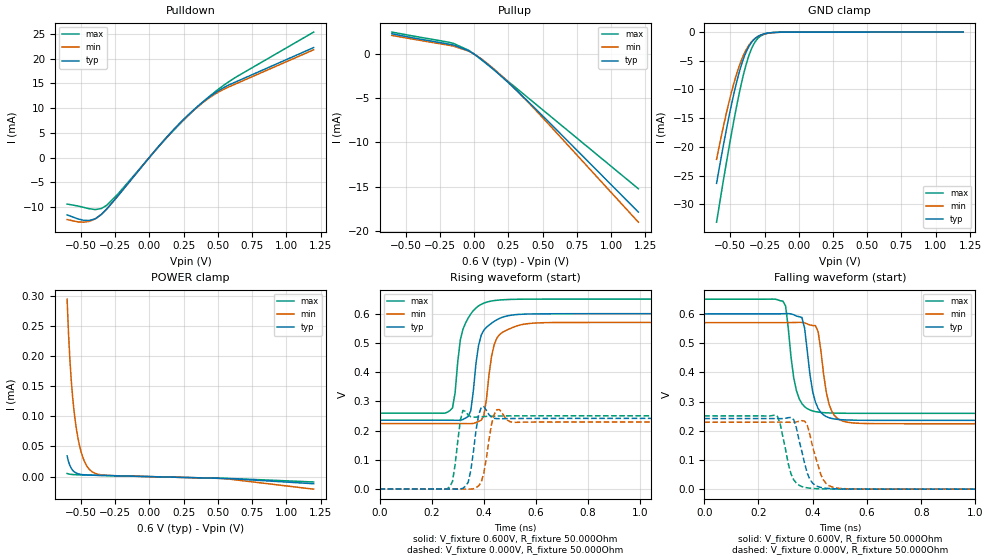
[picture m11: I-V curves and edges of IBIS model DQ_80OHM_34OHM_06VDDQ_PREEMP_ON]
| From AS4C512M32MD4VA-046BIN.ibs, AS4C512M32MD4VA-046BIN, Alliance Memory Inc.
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|   MODEL: DQ_80OHM_34OHM_06VDDQ_PREEMP_ON
[Model]   DQ_80OHM_34OHM_06VDDQ_PREEMP_ON
Model_type   I/O
Polarity   Non-Inverting
Enable   Active-High
Vinl   = 0.080V
Vinh   = 0.220V
Vmeas   = 0.150V
Vref   = 0.150V
Cref   = 0.000pF
Rref   = 50.000Ohm
|   typ   min   max
C_comp   0.875pF   0.788pF   0.963pF
[Voltage Range]   0.600V   0.570V   0.650V
[Temperature Range]   25.0   85.0   -40.0
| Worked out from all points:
|   slope of the pulldown table from 0 to 0.09 V, typ, clamps not added: 30.5 ohm
|   slope of the pullup table from 0 to 0.09 V, typ, clamps not added: 85.1 ohm
|   GND clamp passes 1 mA (typ) near -0.31 V on its own axis
|   rising waveform, V_fixture 0.600V, R_fixture 50.000Ohm: 20-80 % time 34.7ps typ, 35.2ps min, 41.5ps max; typ from 0.235 V to 0.6 V
|   falling waveform, V_fixture 0.600V, R_fixture 50.000Ohm: 20-80 % time 34ps typ, 33.6ps min, 32.7ps max; typ from 0.6 V to 0.236 V
|   rising waveform, V_fixture 0.000V, R_fixture 50.000Ohm: 20-80 % time 22.8ps typ, 25.4ps min, 21.1ps max; typ from 0 V to 0.242 V
|   falling waveform, V_fixture 0.000V, R_fixture 50.000Ohm: 20-80 % time 39.1ps typ, 41.8ps min, 35.9ps max; typ from 0.242 V to 0 V
[Pulldown]
|   Voltage   I(typ)   I(min)   I(max)
-600mV    -11.59mA   -12.54mA   -9.399mA
-520mV    -12.41mA   -13.01mA   -9.804mA
-440mV    -12.73mA   -12.91mA   -10.34mA
-390mV    -12.31mA   -12.31mA   -10.51mA
-350mV    -11.51mA   -11.48mA   -10.3mA
-310mV    -10.4mA    -10.37mA   -9.646mA
-230mV    -7.787mA   -7.788mA   -7.404mA
130mV     4.198mA    4.176mA    4.076mA
270mV     8.232mA    8.17mA     8.096mA
400mV     11.42mA    11.28mA    11.44mA
580mV     14.64mA    14.26mA    15.3mA
1.2V      22.22mA    21.77mA    25.35mA
[Pullup]
|   Voltage   I(typ)   I(min)   I(max)
-600mV    2.295mA    2.104mA    2.481mA
-150mV    1.015mA    894.4uA    1.202mA
-40mV     380.4uA    335.1uA    430.4uA
70mV      -807.4uA   -742.4uA   -846.5uA
210mV     -2.672mA   -2.598mA   -2.601mA
400mV     -5.461mA   -5.538mA   -5.023mA
1.2V      -17.89mA   -19.03mA   -15.25mA
[GND Clamp]
|   Voltage   I(typ)   I(min)   I(max)
-600mV    -26.36mA   -22.19mA   -33.14mA
-550mV    -19.73mA   -16.43mA   -25.84mA
-510mV    -14.79mA   -12.27mA   -20.24mA
-470mV    -10.36mA   -8.615mA   -14.96mA
-430mV    -6.627mA   -5.609mA   -10.17mA
-390mV    -3.805mA   -3.349mA   -6.151mA
-360mV    -2.341mA   -2.151mA   -3.819mA
-320mV    -1.14mA    -1.122mA   -1.755mA
-280mV    -524.1uA   -555.5uA   -715.7uA
-230mV    -184.4uA   -215.6uA   -213.3uA
-140mV    -20.29uA   -29.99uA   -17.96uA
1.2V      6.836uA    7.386uA    6.714uA
[POWER Clamp]
|   Voltage   I(typ)   I(min)   I(max)
-600mV    34.27uA    294.1uA    5.169uA
-590mV    25uA       238.9uA    4.47uA
-570mV    13.84uA    160.6uA    3.674uA
-560mV    10.58uA    132.6uA    3.444uA
-540mV    6.655uA    91.24uA    3.146uA
-520mV    4.678uA    62.84uA    2.957uA
-490mV    3.339uA    35.2uA     2.748uA
-460mV    2.772uA    19.1uA     2.569uA
-420mV    2.39uA     8.47uA     2.342uA
-300mV    1.671uA    1.938uA    1.671uA
560mV     -3.13uA    -3.595uA   -3.086uA
1.2V      -11.8uA    -20.82uA   -8.926uA
[Ramp]
R_load = 50.000Ohm
|   typ   min   max
dV/dt_r   0.219V/40.000ps   0.208V/40.000ps   0.234V/40.000ps
dV/dt_f   0.219V/30.000ps   0.208V/30.000ps   0.234V/30.000ps
|Slew_r   5.468V/ns   5.191V/ns   5.857V/ns
|Slew_f   7.287V/ns   6.918V/ns   7.807V/ns
[Rising Waveform]
V_fixture = 0.600V
V_fixture_min = 0.570V
V_fixture_max = 0.650V
R_fixture = 50.000Ohm
L_fixture = 0.000nH
C_fixture = 0.000pF
|dV/dt_r   0.219V/40.000ps   0.208V/40.000ps   0.234V/40.000ps
|Slew_r   5.468V/ns   5.191V/ns   5.857V/ns
|   Time   V(typ)   V(min)   V(max)
0s        235.5mV    223.9mV    259.5mV
280ps     235.6mV    224mV      277.7mV
310ps     235.4mV    224mV      510.7mV
350ps     267.9mV    223.8mV    599.1mV
390ps     526.1mV    235.5mV    631.8mV
410ps     553.2mV    306.2mV    639.1mV
430ps     567.4mV    455.9mV    643.4mV
460ps     583.7mV    528.4mV    646.8mV
660ps     599.7mV    569.6mV    649.9mV
5ns       600mV      570mV      650mV
[Falling Waveform]
V_fixture = 0.600V
V_fixture_min = 0.570V
V_fixture_max = 0.650V
R_fixture = 50.000Ohm
L_fixture = 0.000nH
C_fixture = 0.000pF
|dV/dt_f   0.219V/30.000ps   0.208V/30.000ps   0.234V/30.000ps
|Slew_f   7.287V/ns   6.918V/ns   7.807V/ns
|   Time   V(typ)   V(min)   V(max)
0s        599.9mV    569.9mV    649.9mV
290ps     600.3mV    570mV      643.5mV
300ps     600.6mV    570mV      626.9mV
330ps     596.8mV    570.3mV    381.1mV
360ps     587.8mV    570.7mV    293mV
420ps     275.9mV    539.1mV    263.9mV
440ps     254mV      394.8mV    261.9mV
480ps     240.2mV    252mV      260.3mV
570ps     235.9mV    225.5mV    259.6mV
5ns       235.5mV    224mV      259.5mV
[Rising Waveform]
V_fixture = 0.000V
V_fixture_min = 0.000V
V_fixture_max = 0.000V
R_fixture = 50.000Ohm
L_fixture = 0.000nH
C_fixture = 0.000pF
|dV/dt_r   0.145V/20.000ps   0.138V/30.000ps   0.150V/20.000ps
|Slew_r   7.249V/ns   4.586V/ns   7.519V/ns
|   Time   V(typ)   V(min)   V(max)
0s        3.563uV    10.56uV    1.531uV
270ps     53.2uV     13.44uV    8.132mV
310ps     -185.8uV   32.62uV    235.9mV
330ps     9.854mV    -259.3uV   265.6mV
350ps     63.53mV    -361uV     247.5mV
380ps     253.3mV    10.67mV    246.7mV
400ps     281.9mV    55mV       248mV
430ps     245.7mV    223.2mV    249.1mV
460ps     240.7mV    271.8mV    249.8mV
5ns       241.6mV    229.3mV    250.6mV
[Falling Waveform]
V_fixture = 0.000V
V_fixture_min = 0.000V
V_fixture_max = 0.000V
R_fixture = 50.000Ohm
L_fixture = 0.000nH
C_fixture = 0.000pF
|dV/dt_f   0.145V/40.000ps   0.138V/40.000ps   0.150V/40.000ps
|Slew_f   3.624V/ns   3.439V/ns   3.759V/ns
|   Time   V(typ)   V(min)   V(max)
0s        241.6mV    229.3mV    250.6mV
270ps     241.4mV    229.3mV    248.9mV
320ps     245.7mV    228.8mV    52.11mV
340ps     209.2mV    230.2mV    20.23mV
370ps     89.13mV    232.9mV    6.254mV
390ps     32.8mV     185mV      3.313mV
410ps     13.05mV    111.2mV    1.877mV
450ps     3.048mV    18.88mV    713.1uV
540ps     388.2uV    943.4uV    167.7uV
5ns       3.894uV    10.69uV    1.877uV
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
